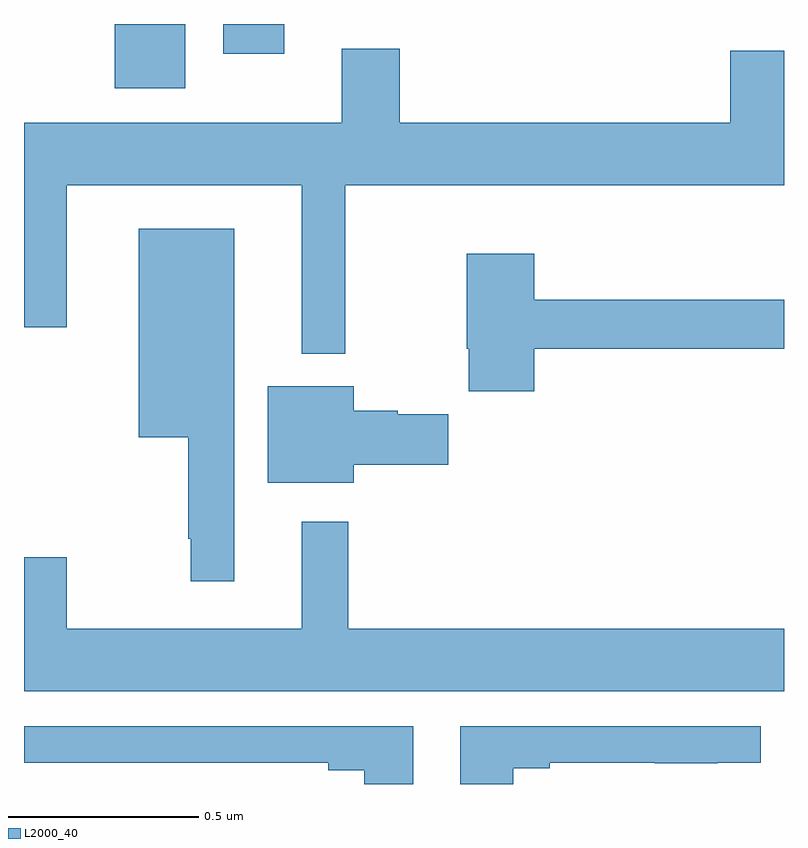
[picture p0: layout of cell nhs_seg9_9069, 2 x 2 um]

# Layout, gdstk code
import gdstk
lib = gdstk.Library(unit=1e-6, precision=1e-09)
def R(c, l, rs):  # rectangles x0, y0, x1, y1
    for r in rs: c.add(gdstk.rectangle(r[:2], r[2:], *l))
def P(c, l, *ps):  # polygons
    for p in ps: c.add(gdstk.Polygon(p, *l))
L2000_40 = (2000, 40)

nhs_seg9_9069 = lib.new_cell('nhs_seg9_9069')
R(nhs_seg9_9069, L2000_40, [(225.239,1207.331,225.424,1207.5), (225.524,1207.422,225.685,1207.5)])
P(nhs_seg9_9069, L2000_40, [(225.845,1207.076),(227,1207.076),(227,1207.429),(226.859,1207.429),(226.859,1207.24),(225.989,1207.24),(225.989,1207.435),(225.836,1207.435),(225.836,1207.24),(225,1207.24),(225,1206.702),(225.112,1206.702),(225.112,1207.076),(225.731,1207.076),(225.731,1206.632),(225.845,1206.632)],
  [(225.553,1206.961),(225.302,1206.961),(225.302,1206.413),(225.432,1206.413),(225.432,1206.145),(225.439,1206.145),(225.439,1206.033),(225.553,1206.033)],
  [(226.343,1206.646),(227,1206.646),(227,1206.775),(226.343,1206.775),(226.343,1206.895),(226.165,1206.895),(226.165,1206.646),(226.17,1206.646),(226.17,1206.534),(226.343,1206.534)],
  [(225.868,1206.34),(226.117,1206.34),(226.117,1206.473),(225.984,1206.473),(225.984,1206.482),(225.868,1206.482),(225.868,1206.547),(225.641,1206.547),(225.641,1206.293),(225.868,1206.293)],
  [(227,1205.908),(225.853,1205.908),(225.853,1206.19),(225.731,1206.19),(225.731,1205.908),(225.112,1205.908),(225.112,1206.097),(225,1206.097),(225,1205.744),(227,1205.744)],
  [(226.024,1205.652),(225,1205.652),(225,1205.556),(225.8,1205.556),(225.8,1205.536),(225.896,1205.536),(225.896,1205.5),(226.024,1205.5)],
  [(226.288,1205.541),(226.384,1205.541),(226.384,1205.556),(226.66,1205.556),(226.66,1205.555),(226.826,1205.555),(226.826,1205.556),(226.939,1205.556),(226.939,1205.652),(226.148,1205.652),(226.148,1205.5),(226.288,1205.5)])

lib.write_gds('nhs_seg9_9069.gds')
